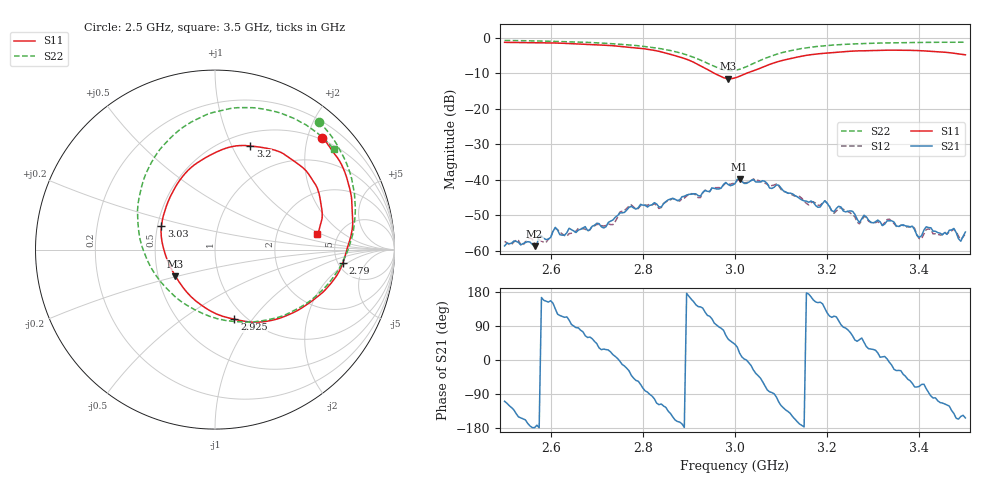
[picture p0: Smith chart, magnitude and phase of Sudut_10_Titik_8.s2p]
# Hz S RI R 50
! CMT, C1220, 16058040, 17.2.0/1
! Date: 15/08/2018 09:53:43
! Data: Format (Calibration Info)
! Freq  S11: Re/Im (F2)  S21: Re/Im (F2)  S12: Re/Im (F2)  S22: Re/Im (F2)
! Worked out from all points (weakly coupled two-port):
!   201 points, 2.5 GHz to 3.5 GHz, reference 50 ohm
!   highest |S21| = -39.69 dB at 3.01 GHz (marker M1); lowest = -58.6 dB at 2.565 GHz (marker M2)
!   lowest |S11| = -11.5 dB at 2.985 GHz (marker M3), VSWR 1.72, Z = 30.8 - j9.8 ohm
!   |S11| at or under -10 dB: 2.955 GHz to 3.025 GHz (69.27 MHz wide, 2.32 % of centre)
!   |S22| runs from -9.3 to -0.7 dB; largest |S21 - S12| = 0.00084
!   S11 on the Smith chart (normalised r, x): 2.5 GHz: 0.46, +2.27; 2.79 GHz: 5.48, -1.72; 2.925 GHz: 0.89, -0.82; 3.03 GHz: 0.52, +0.15; 3.2 GHz: 0.64, +1.18; 3.5 GHz: 3.48, +0.90
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2.5e9  0.598 0.6231  -0.000384 -0.00112  -0.000402 -0.0013  0.5789 0.7129
2.565e9  0.6695 0.5287  -0.00117 -2.76e-05  -0.00126 0.000196  0.6504 0.6289
2.61e9  0.7164 0.4488  -0.00152 0.00152  -0.00153 0.00144  0.6955 0.5558
2.67e9  0.7581 0.305  0.000566 0.00203  0.0007 0.00193  0.7489 0.4374
2.79e9  0.7114 -0.0765  0.00227 -0.00337  0.0021 -0.00335  0.7686 0.0908
2.835e9  0.6005 -0.2378  -0.00195 -0.00369  -0.00181 -0.00353  0.7049 -0.0813
2.925e9  0.1078 -0.3877  -0.00456 0.0038  -0.00452 0.0034  0.2882 -0.3922
2.985e9  -0.2201 -0.1481  0.00492 0.0071  0.0047 0.00746  -0.1811 -0.295
3e9  -0.2681 -0.0528  0.00668 0.00586  0.00695 0.00555  -0.2789 -0.2064
3.01e9  -0.2877 0.00992  0.00985 0.00321  0.00948 0.00317  -0.3342 -0.1363
3.03e9  -0.2984 0.1307  0.00925 -0.00122  0.00932 -0.00128  -0.4066 0.0168
3.1e9  -0.135 0.4558  -0.00388 -0.00665  -0.00396 -0.00619  -0.3394 0.5105
3.17e9  0.105 0.5758  -0.00449 0.00178  -0.00471 0.00144  -0.0704 0.7413
3.2e9  0.197 0.5772  -0.00265 0.00388  -0.00245 0.00403  0.0419 0.7765
3.27e9  0.3813 0.534  0.00149 0.00204  0.00139 0.00197  0.2628 0.784
3.335e9  0.507 0.4396  0.00265 -0.000283  0.00279 -0.00041  0.4164 0.7407
3.385e9  0.5661 0.351  0.00105 -0.00197  0.00102 -0.002  0.5101 0.693
3.4e9  0.5764 0.3225  0.000545 -0.00146  0.000404 -0.00144  0.5335 0.6759
3.415e9  0.5849 0.2871  0.00055 -0.00212  0.000563 -0.00193  0.5577 0.6588
3.475e9  0.589 0.1459  -0.00162 -0.0013  -0.00154 -0.00132  0.6356 0.5886
3.49e9  0.58 0.1093  -0.00118 -0.000705  -0.00131 -0.000647  0.6534 0.5697
3.5e9  0.5703 0.086  -0.00165 -0.000842  -0.00161 -0.000677  0.6644 0.558
